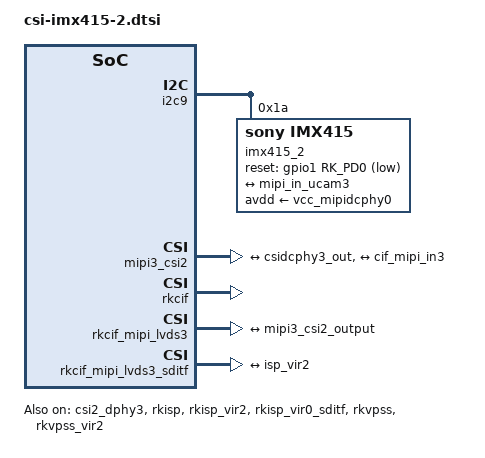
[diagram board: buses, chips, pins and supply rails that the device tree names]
&csi2_dphy3 {
	status = "okay";

	ports {
		#address-cells = <1>;
		#size-cells = <0>;
		port@0 {
			reg = <0>;
			#address-cells = <1>;
			#size-cells = <0>;

			mipi_in_ucam3: endpoint@1 {
				reg = <1>;
				remote-endpoint = <&imx415_out3>;
				data-lanes = <1 2 3 4>;
			};
		};

		port@1 {
			reg = <1>;
			#address-cells = <1>;
			#size-cells = <0>;

			csidcphy3_out: endpoint@0 {
				reg = <0>;
				remote-endpoint = <&mipi3_csi2_input>;
			};
		};
	};
};

&i2c9 {
	status = "okay";
	pinctrl-0 = <&i2c9m1_xfer>;

	imx415_2: imx415@1a {
		compatible = "sony,imx415";
		reg = <0x1a>;
		clocks = <&cru CLK_MIPI_CAMERAOUT_M2>;
		clock-names = "xvclk";
		pinctrl-names = "default";
		pinctrl-0 = <&cam_clk2m0_clk2>;
		power-domains = <&power RK3576_PD_VI>;
		avdd-supply = <&vcc_mipidcphy0>;
		reset-gpios = <&gpio1 RK_PD0 GPIO_ACTIVE_LOW>;
		rockchip,camera-module-index = <0>;
		rockchip,camera-module-facing = "back";
		rockchip,camera-module-name = "CMK-OT2022-PX1";
		rockchip,camera-module-lens-name = "IR0147-50IRC-8M-F20";
		port {
			imx415_out3: endpoint {
				remote-endpoint = <&mipi_in_ucam3>;
				data-lanes = <1 2 3 4>;
			};
		};
	};
};

&mipi3_csi2 {
	status = "okay";

	ports {
		#address-cells = <1>;
		#size-cells = <0>;

		port@0 {
			reg = <0>;
			#address-cells = <1>;
			#size-cells = <0>;

			mipi3_csi2_input: endpoint@1 {
				reg = <1>;
				remote-endpoint = <&csidcphy3_out>;
			};
		};

		port@1 {
			reg = <1>;
			#address-cells = <1>;
			#size-cells = <0>;

			mipi3_csi2_output: endpoint@0 {
				reg = <0>;
				remote-endpoint = <&cif_mipi_in3>;
			};
		};
	};
};

&rkcif {
	status = "okay";
};

&rkcif_mipi_lvds3 {
	status = "okay";

	port {
		cif_mipi_in3: endpoint {
			remote-endpoint = <&mipi3_csi2_output>;
		};
	};
};

&rkcif_mipi_lvds3_sditf {
	status = "okay";

	port {
		mipi3_lvds_sditf: endpoint {
			remote-endpoint = <&isp_vir2>;
		};
	};
};

&rkcif_mmu {
	status = "okay";
};

&rkisp {
	status = "okay";
};

&rkisp_mmu {
	status = "okay";
};

&rkisp_vir2 {
	status = "okay";

	port {
		#address-cells = <1>;
		#size-cells = <0>;

		isp_vir2: endpoint@0 {
			reg = <0>;
			remote-endpoint = <&mipi3_lvds_sditf>;
		};
	};
};

&rkisp_vir0_sditf {
	status = "okay";
};

&rkvpss {
	status = "okay";
};

&rkvpss_mmu {
	status = "okay";
};

&rkvpss_vir2 {
	status = "okay";
};
